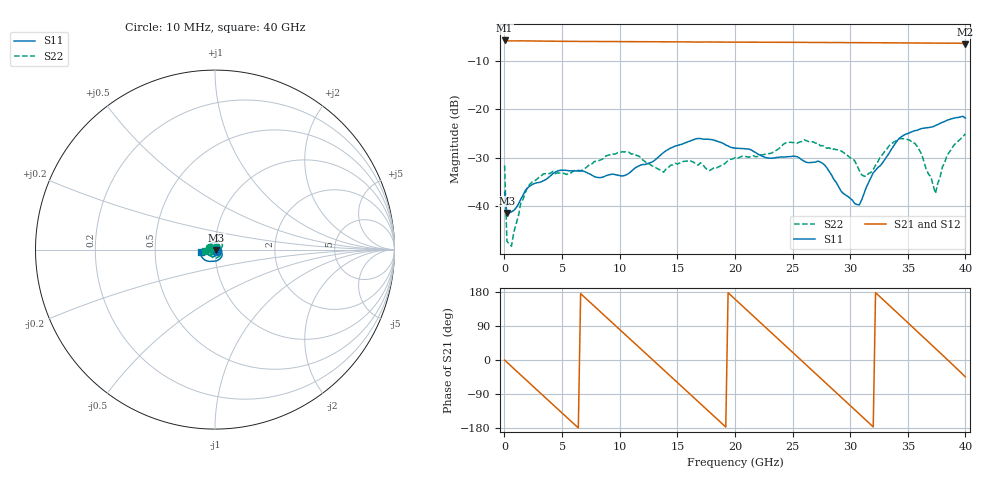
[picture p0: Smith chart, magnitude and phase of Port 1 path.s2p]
! RsaToolbox (C) 2015 Rohde & Schwarz America
! Number of points: 201
! Number of ports: 2
! Balanced ports?: No
# Hz S RI R 50
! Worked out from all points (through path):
!   201 points, 10 MHz to 40 GHz, reference 50 ohm
!   highest |S21| = -5.77 dB at 10 MHz (marker M1); lowest = -6.6 dB at 40 GHz (marker M2)
!   group delay of S21, straight-line fit = 77.9 ps
!   lowest |S11| = -41.4 dB at 209.9 MHz (marker M3), VSWR 1.02, Z = 50.8 - j0.196 ohm
!   |S11| at or under -10 dB: start of sweep to end of sweep
!   |S22| runs from -48.3 to -25.1 dB; largest |S21 - S12| = 0
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1e7  0.0124 -0.0064  0.5149 -0.000656  0.5149 -0.000656  -0.0255 0.00633
2.0995e8  0.00828 -0.00192  0.5066 -0.0522  0.5066 -0.0522  -0.00429 -0.000652
6.0985e8  0.00717 -0.005  0.4873 -0.1507  0.4873 -0.1507  -0.0032 -0.00215
2.0095e9  -0.00343 -0.015  0.2812 -0.424  0.2812 -0.424  -0.00985 -0.0124
3.40915e9  -0.0157 -0.00956  -0.0491 -0.5038  -0.0491 -0.5038  -0.0209 -0.00572
6.8083e9  -0.0119 0.0197  -0.4946 0.0914  -0.4946 0.0914  -0.00483 0.0231
1.00075e10  0.0192 0.00767  0.086 0.4932  0.086 0.4932  0.0324 0.0148
1.180705e10  0.0211 -0.0161  0.433 0.2493  0.433 0.2493  0.0319 -0.00293
1.340665e10  0.00524 -0.0321  0.4832 -0.127  0.4832 -0.127  0.0127 -0.0203
1.64059e10  -0.0433 -0.0222  -0.0744 -0.4904  -0.0744 -0.4904  -0.0264 -0.0106
1.84054e10  -0.043 0.0191  -0.4475 -0.2132  -0.4475 -0.2132  -0.0139 0.0207
2.0005e10  -0.0149 0.0368  -0.4666 0.1643  -0.4666 0.1643  0.0104 0.0298
2.300425e10  0.0308 0.00549  0.1132 0.4801  0.1132 0.4801  0.0337 -0.00929
2.500375e10  0.0199 -0.0261  0.4613 0.1719  0.4613 0.1719  0.0203 -0.0405
2.68033e10  -0.0114 -0.0259  0.4246 -0.2475  0.4246 -0.2475  -0.008 -0.0453
2.88028e10  -0.0173 -0.00257  0.0324 -0.4891  0.0324 -0.4891  -0.0325 -0.0202
3.08023e10  0.000141 0.0103  -0.3886 -0.2965  -0.3886 -0.2965  -0.0211 0.00948
3.340165e10  0.0344 -0.0091  -0.3941 0.2859  -0.3941 0.2859  0.0272 0.0324
3.56011e10  0.0208 -0.0564  0.0708 0.4798  0.0708 0.4798  0.0406 0.0185
3.740065e10  -0.0186 -0.0655  0.4167 0.245  0.4167 0.245  0.0062 -0.012
3.84004e10  -0.0425 -0.0642  0.4822 0.0165  0.4822 0.0165  -0.0174 -0.0286
4e10  -0.0796 -0.0149  0.3342 -0.3301  0.3342 -0.3301  -0.0553 -0.00824
